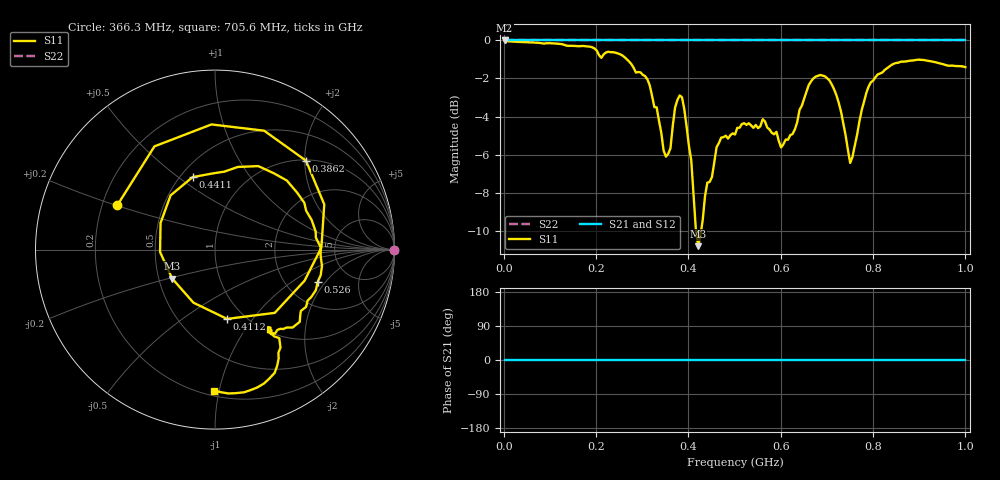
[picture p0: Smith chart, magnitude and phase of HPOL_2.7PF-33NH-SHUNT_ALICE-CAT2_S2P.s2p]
!Agilent N9923A: A.07.32
!Date: Tuesday, 25 February 2020 01:15:16
!Model: N9923A
!Serial: MY52412229
!GPS Latitude:
!GPS Longitude:
!GPS TimeStamp: 0001-01-01 00:00:00Z
!GPS Seconds Since Last Read: 0
!CHECKSUM:0209389743
!Correction: S11(ON U)S21()S12()S22()
!S2P File: Measurements:S11,S21,S12,S22:
# Hz S DB R 50
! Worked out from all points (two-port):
!   201 points, 2 MHz to 1 GHz, reference 50 ohm
!   highest |S21| = 0.00 dB at 2 MHz (marker M1); lowest = 0.0 dB at 2 MHz (marker M2)
!   |S21| within 3 dB of the highest: start of sweep to end of sweep
!   lowest |S11| = -10.8 dB at 421.2 MHz (marker M3), VSWR 1.81, Z = 29.4 - j10.3 ohm
!   |S11| at or under -10 dB: 416.6 MHz to 427.8 MHz (11.15 MHz wide, 2.64 % of centre)
!   |S22| runs from 0.0 to 0.0 dB; largest |S21 - S12| = 0
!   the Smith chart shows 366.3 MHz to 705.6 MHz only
!   S11 on the Smith chart (normalised r, x): 366.3 MHz: 0.26, +0.20; 386.2 MHz: 1.02, +2.03; 411.2 MHz: 0.83, -0.76; 441.1 MHz: 0.57, +0.57; 526 MHz: 2.99, -1.67; 705.6 MHz: 0.24, -0.97
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2000000  -0.03 179.5  0.00 0.0  0.00 0.0  0.00 0.0
1.7166e8  -0.29 137.1  0.00 0.0  0.00 0.0  0.00 0.0
2.7645e8  -1.24 82.4  0.00 0.0  0.00 0.0  0.00 0.0
3.0639e8  -1.88 53.9  0.00 0.0  0.00 0.0  0.00 0.0
3.3633e8  -4.22 -4.2  0.00 0.0  0.00 0.0  0.00 0.0
3.5629e8  -5.97 -115.5  0.00 0.0  0.00 0.0  0.00 0.0
3.6627e8  -4.47 155.4  0.00 0.0  0.00 0.0  0.00 0.0
3.7625e8  -3.13 91.6  0.00 0.0  0.00 0.0  0.00 0.0
3.8623e8  -2.99 44.4  0.00 0.0  0.00 0.0  0.00 0.0
3.9621e8  -4.54 1.1  0.00 0.0  0.00 0.0  0.00 0.0
4.1118e8  -8.14 -80.1  0.00 0.0  0.00 0.0  0.00 0.0
4.2116e8  -10.82 -145.9  0.00 0.0  0.00 0.0  0.00 0.0
4.4112e8  -7.48 107.2  0.00 0.0  0.00 0.0  0.00 0.0
4.7605e8  -5.08 34.8  0.00 0.0  0.00 0.0  0.00 0.0
5.01e8  -4.95 6.9  0.00 0.0  0.00 0.0  0.00 0.0
5.2595e8  -4.44 -17.3  0.00 0.0  0.00 0.0  0.00 0.0
6.7066e8  -2.00 -69.9  0.00 0.0  0.00 0.0  0.00 0.0
7.0559e8  -2.10 -90.2  0.00 0.0  0.00 0.0  0.00 0.0
7.505e8  -6.44 -92.7  0.00 0.0  0.00 0.0  0.00 0.0
7.8044e8  -3.22 -77.2  0.00 0.0  0.00 0.0  0.00 0.0
8.3533e8  -1.37 -94.1  0.00 0.0  0.00 0.0  0.00 0.0
1e9  -1.40 -121.8  0.00 0.0  0.00 0.0  0.00 0.0
